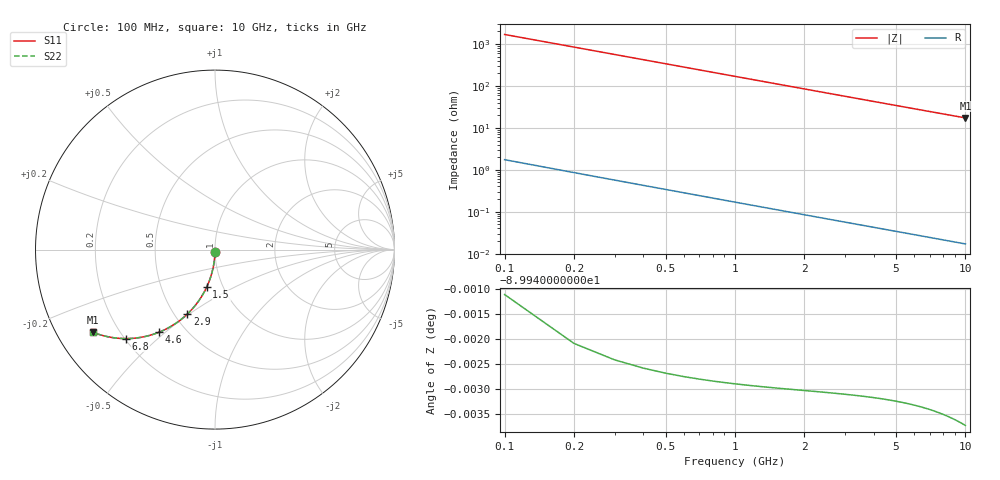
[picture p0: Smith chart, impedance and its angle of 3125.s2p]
# Hz S RI R 50.00
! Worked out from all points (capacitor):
!   100 points, 100 MHz to 10 GHz, reference 50 ohm
!   read as one part in shunt: C = 937 fF near 100 MHz
!   lowest |Z| = 17.3 ohm at 10 GHz (marker M1)
!   S11 on the Smith chart (normalised r, x): 100 MHz: 1.00, -0.03; 1.5 GHz: 0.84, -0.37; 2.9 GHz: 0.58, -0.49; 4.6 GHz: 0.36, -0.48; 6.8 GHz: 0.21, -0.40; 10 GHz: 0.11, -0.30
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1e8  -0.000223 -0.0147  0.9998 -0.0148  0.9998 -0.0148  -0.000223 -0.0147
2e8  -0.000887 -0.0293  0.9991 -0.0295  0.9991 -0.0295  -0.000887 -0.0293
3e8  -0.00198 -0.0439  0.998 -0.0442  0.998 -0.0442  -0.00198 -0.0439
4e8  -0.0035 -0.0585  0.9965 -0.0589  0.9965 -0.0589  -0.0035 -0.0585
5e8  -0.00545 -0.0729  0.9945 -0.0734  0.9945 -0.0734  -0.00545 -0.0729
6e8  -0.00781 -0.0873  0.9922 -0.0879  0.9922 -0.0879  -0.00781 -0.0873
7e8  -0.0106 -0.1015  0.9894 -0.1023  0.9894 -0.1023  -0.0106 -0.1015
9e8  -0.0173 -0.1296  0.9826 -0.1305  0.9826 -0.1305  -0.0173 -0.1296
1.2e9  -0.0303 -0.1704  0.9696 -0.1717  0.9696 -0.1717  -0.0303 -0.1704
1.5e9  -0.0465 -0.2093  0.9535 -0.2109  0.9535 -0.2109  -0.0465 -0.2093
1.8e9  -0.0655 -0.246  0.9345 -0.2479  0.9345 -0.2479  -0.0655 -0.246
2.3e9  -0.1025 -0.3016  0.8975 -0.304  0.8975 -0.304  -0.1025 -0.3016
2.9e9  -0.1532 -0.3582  0.8467 -0.3613  0.8467 -0.3613  -0.1532 -0.3582
3.4e9  -0.1989 -0.3969  0.8011 -0.4004  0.8011 -0.4004  -0.1989 -0.3969
4e9  -0.2552 -0.4334  0.7447 -0.4376  0.7447 -0.4376  -0.2552 -0.4334
4.6e9  -0.3114 -0.4601  0.6886 -0.465  0.6886 -0.465  -0.3114 -0.4601
5.1e9  -0.3569 -0.4758  0.6431 -0.4813  0.6431 -0.4813  -0.3569 -0.4758
5.9e9  -0.4255 -0.4907  0.5744 -0.4971  0.5744 -0.4971  -0.4255 -0.4907
6.7e9  -0.488 -0.4957  0.512 -0.503  0.512 -0.503  -0.488 -0.4957
6.8e9  -0.4953 -0.4958  0.5046 -0.5032  0.5046 -0.5032  -0.4953 -0.4958
8.4e9  -0.5988 -0.4851  0.4012 -0.4942  0.4012 -0.4942  -0.5988 -0.4851
1e10  -0.6784 -0.4611  0.3215 -0.4721  0.3215 -0.4721  -0.6784 -0.4611
